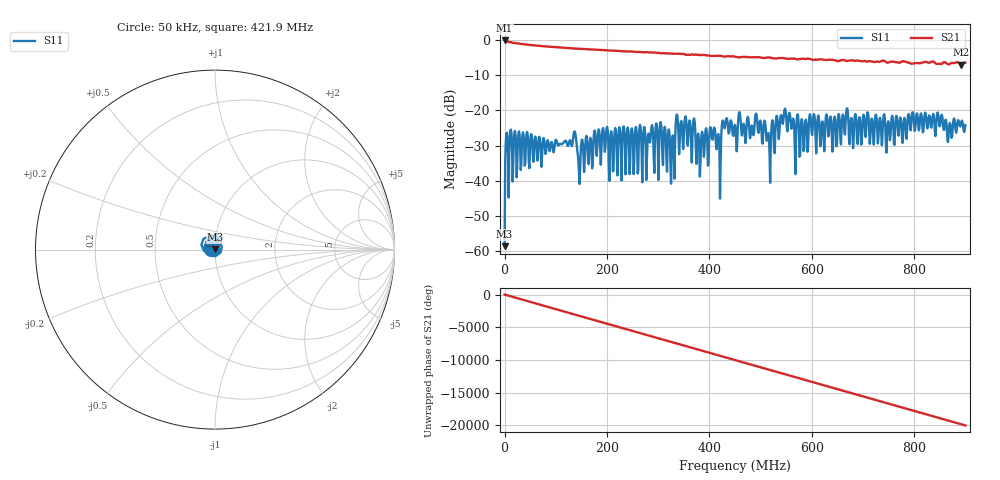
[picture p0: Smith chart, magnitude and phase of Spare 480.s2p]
! NanoVNA-App
! Date: 2026-10-30 14:02:06
! Start: 50kHz Stop: 900MHz Points: 801
! S-Parameter data: F S11 S21 S12 S22
# Hz S RI R 50
!  Frequency  S11_Real  S11_Imag  S21_Real  S21_Imag  S12_Real  S12_Imag  S22_Real  S22_Imag
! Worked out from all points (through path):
!   801 points, 50 kHz to 900 MHz, reference 50 ohm
!   highest |S21| = -0.05 dB at 50 kHz (marker M1); lowest = -7.0 dB at 891 MHz (marker M2)
!   group delay of S21, straight-line fit = 61.8 ns
!   lowest |S11| = -58.7 dB at 50 kHz (marker M3), VSWR 1.00, Z = 50 + j0.105 ohm
!   |S11| at or under -10 dB: start of sweep to end of sweep
!   S12 and S22 are empty: the file has one direction only
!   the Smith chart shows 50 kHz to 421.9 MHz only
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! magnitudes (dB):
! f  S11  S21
! 50 kHz  -58.7  0.0
! 7.925 MHz  -44.8  -0.5
! 136.2 MHz  -26.0  -2.3
! 150.8 MHz  -28.3  -2.4
! 195.8 MHz  -31.8  -2.8
! 208.2 MHz  -26.0  -2.9
! 300.4 MHz  -39.8  -3.6
! 327.4 MHz  -27.8  -3.8
! 339.8 MHz  -27.4  -3.9
! 378 MHz  -26.6  -4.2
! 406.2 MHz  -28.3  -4.4
! 417.4 MHz  -26.7  -4.4
! 429.8 MHz  -25.1  -4.6
! 450 MHz  -24.1  -4.7
! 493.9 MHz  -23.8  -4.8
! 515.3 MHz  -26.4  -4.9
! 544.5 MHz  -22.7  -5.1
! 580.5 MHz  -22.5  -5.3
! 600.8 MHz  -27.0  -5.5
! 750.4 MHz  -23.7  -6.3
! 891 MHz  -24.0  -7.0
! 900 MHz  -24.2  -6.4
